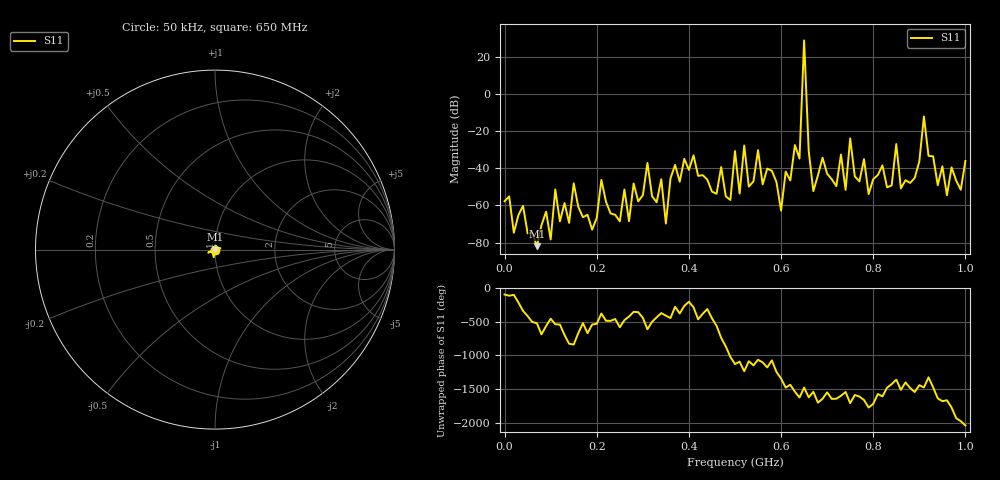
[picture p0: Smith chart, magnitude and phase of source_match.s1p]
! Created with skrf 1.8.0 (http://scikit-rf.org).
# Hz S RI R 50.0
!freq ReS11 ImS11
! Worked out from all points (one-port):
!   101 points, 50 kHz to 1 GHz, reference 50 ohm
!   lowest |S11| = -81.9 dB at 70.05 MHz (marker M1), VSWR 1.00, Z = 50 - j0.00247 ohm
!   |S11| at or under -10 dB: start of sweep to 643.9 MHz; 656.6 MHz to end of sweep
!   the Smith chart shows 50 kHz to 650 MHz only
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50000  -0.000126 -0.0013
7.00465e7  -7.61e-05 -2.47e-05
1.300435e8  0.00107 0.000472
1.900405e8  -0.000222 5.45e-06
2.100395e8  0.00467 -0.00148
2.500375e8  -0.000276 0.00025
3.100345e8  -0.00433 0.0134
3.500325e8  0.000212 -0.000248
3.80031e8  0.00417 -0.0013
4.900255e8  0.000769 0.00118
5.00025e8  0.019 -0.0223
5.100245e8  0.00204 -0.00049
5.20024e8  -0.0378 -0.0167
5.300235e8  0.00322 -0.00034
5.500225e8  0.0301 0.00791
6.0002e8  -6.14e-05 0.000726
6.300185e8  -0.00716 -0.0421
6.40018e8  -0.0183 0.00206
6.500175e8  21.94 -17.55
6.60017e8  -0.0292 0.00213
7.40013e8  -0.000662 -0.00256
7.500125e8  0.00106 0.0642
7.900105e8  0.00185 0.000823
8.500075e8  0.00872 0.0445
8.80006e8  0.00294 -0.0028
9.100045e8  0.2011 -0.149
9.60002e8  -0.00127 0.00139
1e9  -0.00743 0.014
